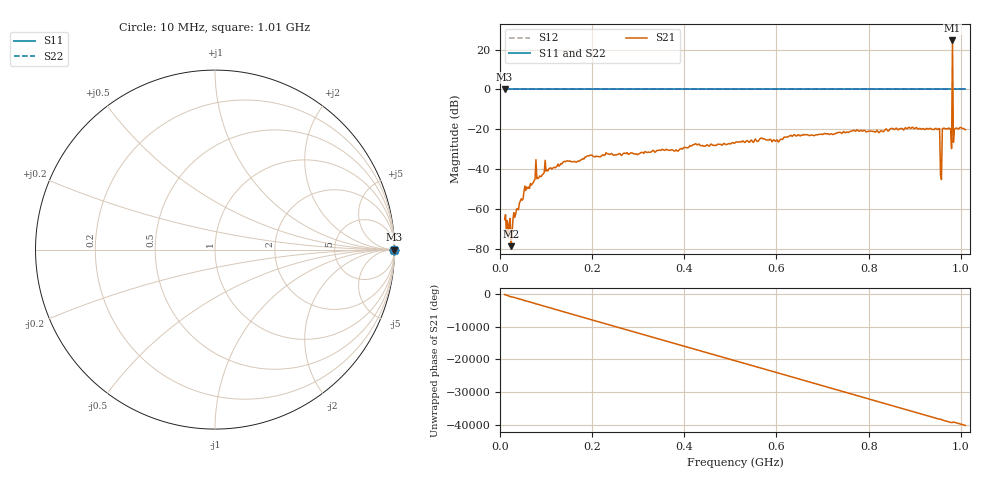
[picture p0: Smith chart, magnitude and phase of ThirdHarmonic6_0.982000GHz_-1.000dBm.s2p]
! 8/16/2025 7:38:11 AM
! C:\ANRITSUVNA\TEMP\TEMP.S2P
! CHANNEL.1
! TR.MEASUREMENT
! RAW.DATA
! RF.CORRECTION.OFF
! AVERAGING.OFF
! IF.BANDWIDTH: 5KHZ
! SWEEPTYPE:  FREQ.SWEEP(Linear)
! Reference Plane Port Info
! PORT:  PORT1  PORT2
! DISTANCE:  0  m  0  m
! TIME:  0  s  0  s
! PHASE.OFFSET:  0  deg.  0  deg.
! LOSS:  0  dB  0  dB
! REF.LOSS:  0  dB  0  dB
! REF.FREQ:  0  Hz  0  Hz
! Power Info
! POWER:  -20  dBm  -20  dBm
! EFF.POWER:  -20  dBm  -20  dBm
! SOURCE.ATTEN:  0  dB  0  dB
! TEST.ATTEN:  0  dB  0  dB
# GHZ S RI R 50.0
! FREQ.GHZ  S11RE  S11IM  S21RE  S21IM  S12RE  S12IM  S22RE  S22IM
!; PortSelection: Port_12
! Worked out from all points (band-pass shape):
!   501 points, 10 MHz to 1.01 GHz, reference 50 ohm
!   highest |S21| = 24.55 dB at 982 MHz (marker M1); lowest = -78.7 dB at 24 MHz (marker M2)
!   |S21| within 3 dB of the highest: 981.8895 MHz to 982.1172 MHz (227.7 kHz wide, 0.0232 % of centre)
!   lowest |S11| = 0.0 dB at 10 MHz (marker M3)
!   |S11| at or under -10 dB: nowhere
!   |S22| runs from 0.0 to 0.0 dB; largest |S21 - S12| = 16
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0.01  1 0  -0.000423 -0.000332  1 0  1 0
0.022  1 0  0.000295 -0.000493  1 0  1 0
0.024  1 0  9.3e-06 -0.000115  1 0  1 0
0.028  1 0  -0.000505 0.000135  1 0  1 0
0.032  1 0  0.000542 0.000278  1 0  1 0
0.056  1 0  -0.000436 0.00285  1 0  1 0
0.076  1 0  0.00546 0.000949  1 0  1 0
0.178  1 0  -0.0173 -0.00173  1 0  1 0
0.344  1 0  0.0278 -0.00994  1 0  1 0
0.51  1 0  -0.0396 0.0216  1 0  1 0
0.678  1 0  -0.0529 -0.0467  1 0  1 0
0.844  1 0  0.0897 0.0186  1 0  1 0
0.95  1 0  0.0679 0.0711  1 0  1 0
0.954  1 0  -0.0451 -0.0931  1 0  1 0
0.96  1 0  0.1034 0.00692  1 0  1 0
0.964  1 0  -0.0989 -0.0361  1 0  1 0
0.976  1 0  0.028 0.099  1 0  1 0
0.978  1 0  0.1017 -0.00766  1 0  1 0
0.982  1 0  15.46 -6.77  1 0  1 0
0.986  1 0  0.0819 0.0533  1 0  1 0
0.988  1 0  0.0714 -0.0754  1 0  1 0
1.01  1 0  -0.0759 0.0607  1 0  1 0
